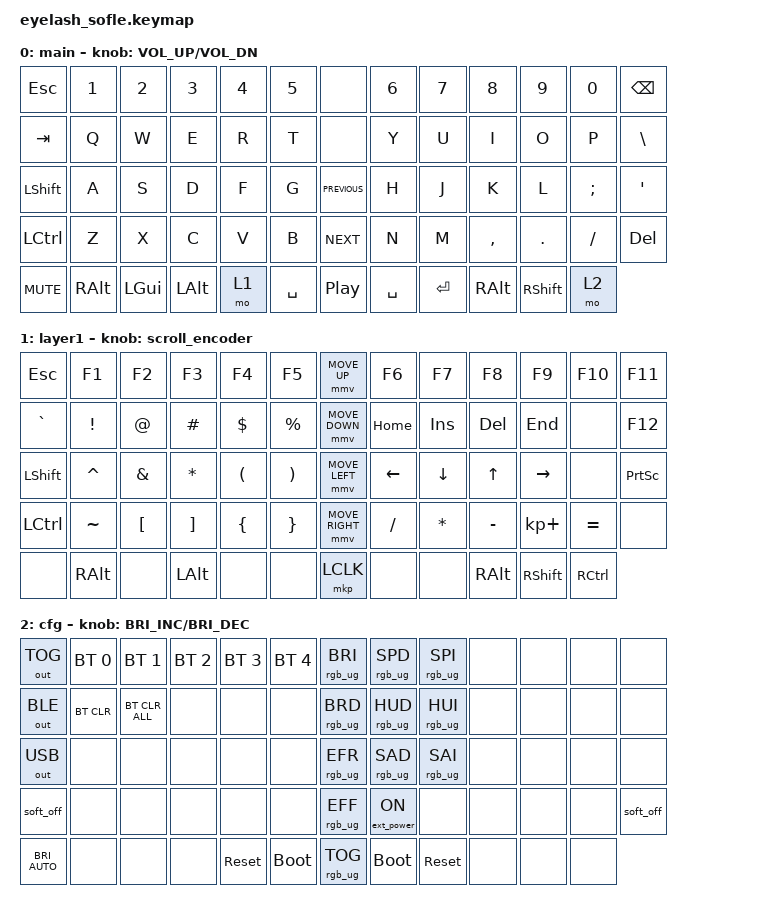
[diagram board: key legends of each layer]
#define ZMK_POINTING_DEFAULT_MOVE_VAL 1200  // 600
#define ZMK_POINTING_DEFAULT_SCRL_VAL 25   // 10

#include <input/processors.dtsi>
#include <zephyr/dt-bindings/input/input-event-codes.h>
#include <behaviors.dtsi>
#include <dt-bindings/zmk/bt.h>
#include <dt-bindings/zmk/keys.h>
#include <dt-bindings/zmk/outputs.h>
#include <dt-bindings/zmk/pointing.h>
#include <dt-bindings/zmk/ext_power.h>
#include <dt-bindings/zmk/rgb.h>

&mmv_input_listener { input-processors = <&zip_xy_scaler 2 1>; };

&msc_input_listener { input-processors = <&zip_scroll_scaler 2 1>; };

&msc {
    acceleration-exponent = <1>;      // 0
    time-to-max-speed-ms = <100>;       // 300
    delay-ms = <0>;                   // 0
};

&mmv {
    time-to-max-speed-ms = <500>;
    acceleration-exponent = <1>;
    trigger-period-ms = <16>;
};

/ {
    scroll_encoder: scroll_encoder {
        compatible = "zmk,behavior-sensor-rotate";
        #sensor-binding-cells = <0>;
        bindings = <&msc SCRL_DOWN>, <&msc SCRL_UP>;

        tap-ms = <100>;
    };

    behaviors {
    };

    keymap {
        compatible = "zmk,keymap";

        main {
            bindings = <
&kp ESC     &kp N1    &kp N2        &kp N3        &kp N4  &kp N5       &none             &kp N6     &kp N7     &kp N8         &kp N9           &kp N0    &kp BACKSPACE
&kp TAB     &kp Q     &kp W         &kp E         &kp R   &kp T        &none             &kp Y      &kp U      &kp I          &kp O            &kp P     &kp BSLH
&kp LSHIFT  &kp A     &kp S         &kp D         &kp F   &kp G        &kp C_PREVIOUS    &kp H      &kp J      &kp K          &kp L            &kp SEMI  &kp APOS
&kp LCTRL   &kp Z     &kp X         &kp C         &kp V   &kp B        &kp C_NEXT        &kp N      &kp M      &kp COMMA      &kp DOT          &kp FSLH  &kp DELETE
&kp C_MUTE  &kp RALT  &kp LEFT_GUI  &kp LEFT_ALT  &mo 1   &kp SPACE    &kp C_PLAY_PAUSE  &kp SPACE  &kp ENTER  &kp RIGHT_ALT  &kp RIGHT_SHIFT  &mo 2
            >;

            sensor-bindings = <&inc_dec_kp C_VOLUME_UP C_VOL_DN>;
            display-name = "main";
        };

        layer1 {
            bindings = <
&kp ESC     &kp F1           &kp F2            &kp F3             &kp F4                &kp F5                   &mmv MOVE_UP     &kp F6     &kp F7          &kp F8         &kp F9           &kp F10    &kp F11
&kp GRAVE   &kp EXCLAMATION  &kp AT_SIGN       &kp HASH           &kp DOLLAR            &kp PERCENT              &mmv MOVE_DOWN   &kp HOME   &kp INS         &kp DEL        &kp END          &none      &kp F12
&kp LSHIFT  &kp CARET        &kp AMPERSAND     &kp ASTERISK       &kp LEFT_PARENTHESIS  &kp RIGHT_PARENTHESIS    &mmv MOVE_LEFT   &kp LEFT   &kp DOWN_ARROW  &kp UP_ARROW   &kp RIGHT        &none      &kp PRINTSCREEN
&kp LCTRL   &kp TILDE        &kp LEFT_BRACKET  &kp RIGHT_BRACKET  &kp LEFT_BRACE        &kp RIGHT_BRACE          &mmv MOVE_RIGHT  &kp SLASH  &kp ASTERISK    &kp MINUS      &kp KP_PLUS      &kp EQUAL  &none
&none       &kp RALT         &none             &kp LEFT_ALT       &none                 &none                    &mkp LCLK        &none      &none           &kp RIGHT_ALT  &kp RIGHT_SHIFT  &kp RCTRL
            >;

            display-name = "layer1";
            sensor-bindings = <&scroll_encoder>;
        };

        cfg {
            bindings = <
&out OUT_TOG           &bt BT_SEL 0  &bt BT_SEL 1    &bt BT_SEL 2  &bt BT_SEL 3  &bt BT_SEL 4    &rgb_ug RGB_BRI  &rgb_ug RGB_SPD  &rgb_ug RGB_SPI  &none  &none  &none  &none
&out OUT_BLE           &bt BT_CLR    &bt BT_CLR_ALL  &none         &none         &none           &rgb_ug RGB_BRD  &rgb_ug RGB_HUD  &rgb_ug RGB_HUI  &none  &none  &none  &none
&out OUT_USB           &none         &none           &none         &none         &none           &rgb_ug RGB_EFR  &rgb_ug RGB_SAD  &rgb_ug RGB_SAI  &none  &none  &none  &none
&soft_off              &none         &none           &none         &none         &none           &rgb_ug RGB_EFF  &ext_power EP_ON &none            &none  &none  &none  &soft_off
&kp C_BRIGHTNESS_AUTO  &none         &none           &none         &sys_reset    &bootloader     &rgb_ug RGB_TOG  &bootloader      &sys_reset       &none  &none  &none
            >;

            sensor-bindings = <&inc_dec_kp C_BRIGHTNESS_INC C_BRIGHTNESS_DEC>;
        };
    };
};
